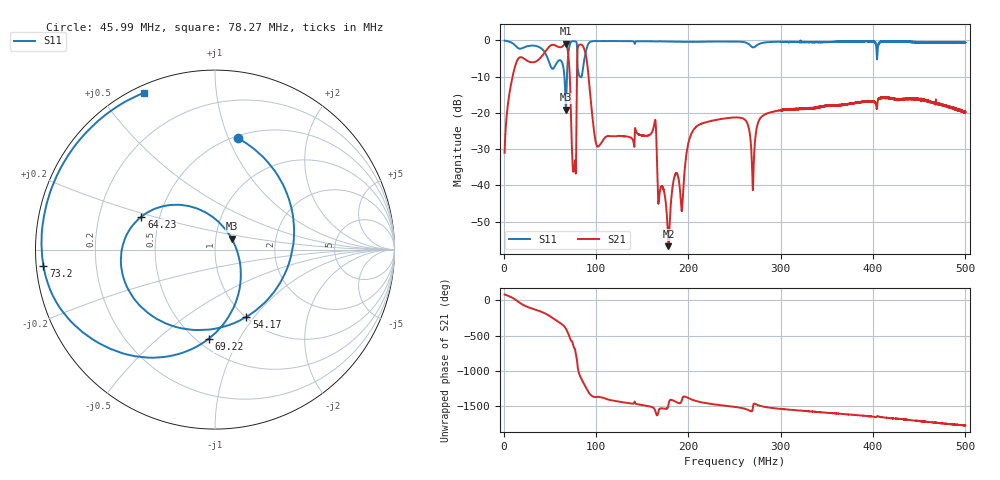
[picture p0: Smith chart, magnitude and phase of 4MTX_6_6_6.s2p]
! NanoVNA-App
! Date: 2026-08-18 20:50:07
! Start: 1MHz Stop: 500MHz Points: 6401
! S-Parameter data: F S11 S21 S12 S22
# Hz S RI R 50
!  Frequency  S11_Real  S11_Imag  S21_Real  S21_Imag  S12_Real  S12_Imag  S22_Real  S22_Imag
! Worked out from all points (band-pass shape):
!   6401 points, 1 MHz to 500 MHz, reference 50 ohm
!   highest |S21| = -0.89 dB at 67.12 MHz (marker M1); lowest = -56.7 dB at 178.4 MHz (marker M2)
!   |S21| within 3 dB of the highest: 42.87 MHz to 69.86 MHz (27 MHz wide, 47.9 % of centre); 79.71 MHz to 88.85 MHz (9.148 MHz wide, 10.9 % of centre)
!   lowest |S11| = -19.1 dB at 67.35 MHz (marker M3), VSWR 1.25, Z = 59.8 + j7.34 ohm
!   |S11| at or under -10 dB: 65.76 MHz to 68.51 MHz (2.75 MHz wide, 4.1 % of centre); 82.77 MHz to 84.36 MHz (1.584 MHz wide, 1.9 % of centre)
!   S12 and S22 are empty: the file has one direction only
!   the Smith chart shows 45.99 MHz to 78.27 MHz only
!   S11 on the Smith chart (normalised r, x): 45.99 MHz: 0.52, +1.08; 54.17 MHz: 1.01, -0.91; 64.23 MHz: 0.39, +0.18; 69.22 MHz: 0.57, -0.75; 73.2 MHz: 0.02, -0.05; 78.27 MHz: 0.03, +0.64
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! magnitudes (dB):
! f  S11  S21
! 1 MHz  -0.1  -31.0
! 14.49 MHz  -1.9  -5.6
! 45.99 MHz  -4.0  -2.8
! 54.17 MHz  -7.7  -1.3
! 64.23 MHz  -6.9  -1.6
! 67.12 MHz  -17.9  -0.9
! 67.35 MHz  -19.1  -0.9
! 69.22 MHz  -6.1  -2.5
! 73.2 MHz  -0.4  -23.8
! 76.08 MHz  -0.2  -35.3
! 78.27 MHz  -0.4  -35.2
! 84.19 MHz  -10.1  -1.2
! 101.3 MHz  -0.2  -29.2
! 162.7 MHz  -0.3  -23.6
! 167.4 MHz  -0.3  -44.7
! 178.4 MHz  -0.3  -56.7
! 205.1 MHz  -0.4  -24.9
! 250.5 MHz  -0.3  -21.3
! 269.8 MHz  -2.0  -41.3
! 333.7 MHz  -0.5  -18.7
! 416.9 MHz  -0.4  -15.9
! 500 MHz  -0.6  -19.8
